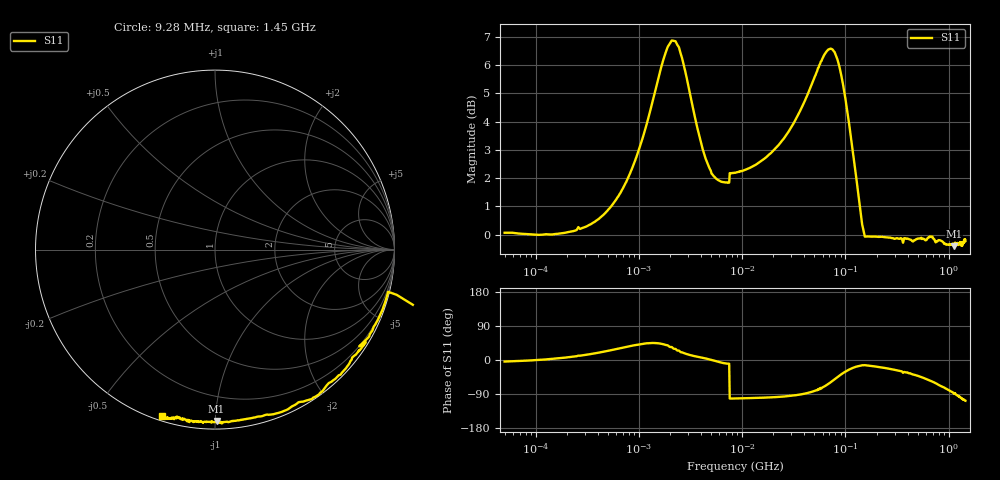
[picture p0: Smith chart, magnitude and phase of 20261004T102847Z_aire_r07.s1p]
! piloto_corto / aire / r07
# HZ S RI R 50
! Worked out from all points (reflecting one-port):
!   501 points, 50 kHz to 1.45 GHz, reference 50 ohm
!   lowest |S11| = -0.4 dB at 1.126 GHz (marker M1), VSWR 42.77, Z = 2.36 - j50.4 ohm
!   phase of S11 starts at -4 deg and turns -104 deg over the sweep
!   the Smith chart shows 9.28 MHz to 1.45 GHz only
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50000  1.005 -0.0722
183000  1.002 0.0991
658000  1.014 0.6107
1180000  1.124 1.084
1720000  1.523 1.353
2080000  1.827 1.237
2440000  1.946 0.9035
3430000  1.608 0.2931
4870000  1.306 0.0285
7300000  1.219 -0.2108
7750000  -0.2608 -1.257
8560000  -0.2559 -1.261
1.81e7  -0.2124 -1.368
3.16e7  -0.0995 -1.573
4.78e7  0.2101 -1.844
5.68e7  0.4623 -1.952
6.67e7  0.8972 -1.917
7.66e7  1.267 -1.694
8.83e7  1.496 -1.274
9.82e7  1.507 -0.9369
1e8  1.496 -0.8825
1.18e8  1.311 -0.4959
1.36e8  1.102 -0.3075
1.63e8  0.9614 -0.248
4.06e8  0.8112 -0.5548
6.76e8  0.5589 -0.8196
1.126e9  0.00901 -0.9543
1.45e9  -0.2968 -0.9283
